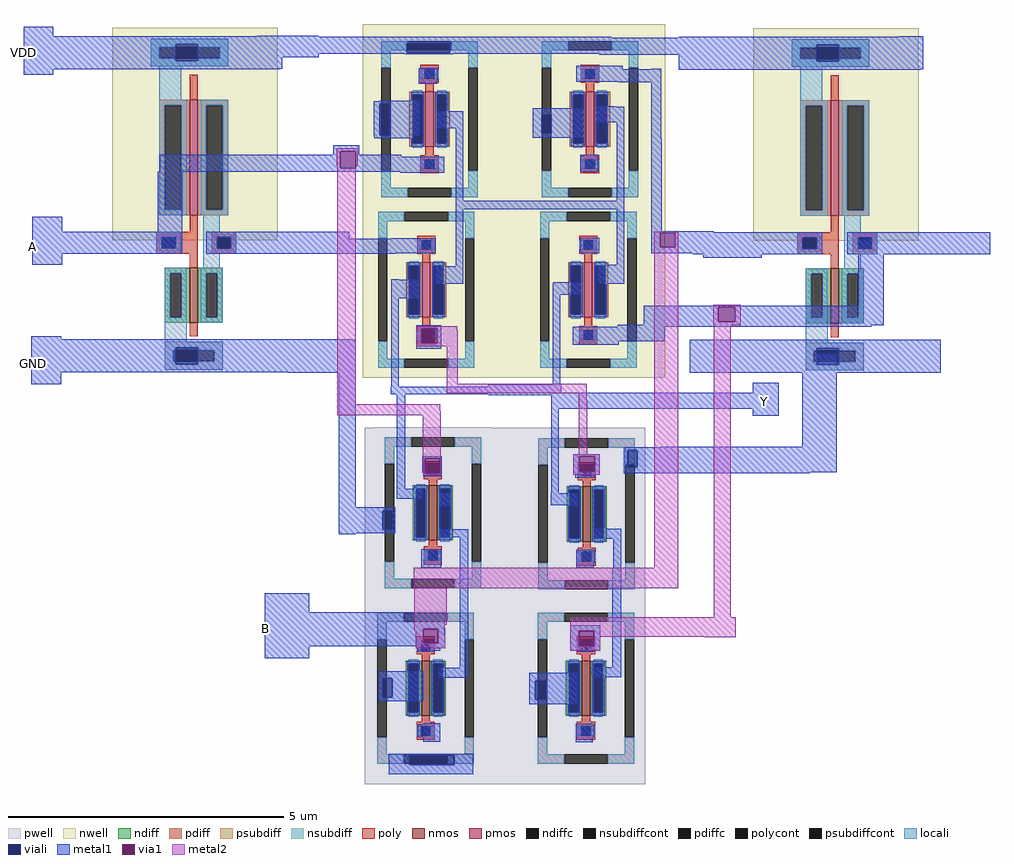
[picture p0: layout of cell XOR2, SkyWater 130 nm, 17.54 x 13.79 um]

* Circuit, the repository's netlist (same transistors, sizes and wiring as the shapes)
* SPICE3 file created from XOR2.ext - technology: sky130A

.subckt INV vdd vss out in
X0 out in vdd vdd sky130_fd_pr__pfet_01v8 ad=1.155 pd=5.3 as=1.155 ps=5.3 w=2.1 l=0.15
X1 out in vss vss sky130_fd_pr__nfet_01v8 ad=0.45 pd=2.9 as=0.45 ps=2.9 w=1 l=0.15
.ends

.subckt sky130_fd_pr__nfet_01v8_648S5X a_n73_n100# a_n33_n188# a_15_n100# a_n175_n274#
X0 a_15_n100# a_n33_n188# a_n73_n100# a_n175_n274# sky130_fd_pr__nfet_01v8 ad=0.29 pd=2.58 as=0.29 ps=2.58 w=1 l=0.15
.ends

.subckt sky130_fd_pr__pfet_01v8_XGS3BL a_n73_n100# a_15_n100# w_n211_n319# a_n33_n197#
+ VSUBS
X0 a_15_n100# a_n33_n197# a_n73_n100# w_n211_n319# sky130_fd_pr__pfet_01v8 ad=0.29 pd=2.58 as=0.29 ps=2.58 w=1 l=0.15
.ends

**.subckt XOR2
XINV_1 VDD GND INV_1/out A INV
XXM1 Y A m1_n2334_n5576# GND sky130_fd_pr__nfet_01v8_648S5X
XXM2 Y INV_1/out m1_n1774_n5072# GND sky130_fd_pr__nfet_01v8_648S5X
XXM3 VDD m1_n2344_n3582# VDD A GND sky130_fd_pr__pfet_01v8_XGS3BL
XXM4 VDD m1_n2344_n3582# VDD B GND sky130_fd_pr__pfet_01v8_XGS3BL
XXM5 Y m1_n2344_n3582# VDD INV_1/out GND sky130_fd_pr__pfet_01v8_XGS3BL
XXM6 Y m1_n2344_n3582# VDD INV_0/out GND sky130_fd_pr__pfet_01v8_XGS3BL
XXM7 GND B m1_n2334_n5576# GND sky130_fd_pr__nfet_01v8_648S5X
XXM8 GND INV_0/out m1_n1774_n5072# GND sky130_fd_pr__nfet_01v8_648S5X
XINV_0 VDD GND INV_0/out B INV
*C0 INV_0/out GND 2.081766f
*C1 B GND 2.228968f
*C2 VDD GND 9.076381f
**.ends

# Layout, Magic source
magic
tech sky130A
magscale 1 2
<< nwell >>
rect -2608 -3982 -1510 -3204
rect -2608 -4036 -2504 -3982
rect -2342 -4036 -1510 -3982
rect -2608 -4488 -1510 -4036
<< pwell >>
rect -2600 -5962 -1582 -4670
<< viali >>
rect -2448 -3308 -2292 -3274
rect -2546 -3608 -2510 -3494
rect -1958 -3600 -1924 -3534
rect -1646 -4812 -1612 -4750
rect -2534 -5040 -2500 -4970
rect -2534 -5648 -2500 -5578
rect -1982 -5652 -1942 -5588
rect -1982 -5656 -1944 -5652
rect -2438 -5892 -2276 -5858
<< metal1 >>
rect -3838 -3388 -3730 -3214
rect -2910 -3250 -2768 -3246
rect -2910 -3254 -1706 -3250
rect -2910 -3274 -1126 -3254
rect -2910 -3308 -2448 -3274
rect -2292 -3308 -1126 -3274
rect -2910 -3312 -1126 -3308
rect -2910 -3324 -2768 -3312
rect -2454 -3314 -2280 -3312
rect -1750 -3316 -1126 -3312
rect -2404 -3420 -2338 -3364
rect -1832 -3368 -1664 -3356
rect -1560 -3368 -1524 -3366
rect -1832 -3414 -1524 -3368
rect -1678 -3416 -1524 -3414
rect -2548 -3484 -2400 -3482
rect -2568 -3494 -2400 -3484
rect -2568 -3608 -2546 -3494
rect -2510 -3608 -2400 -3494
rect -1756 -3504 -1692 -3502
rect -2344 -3582 -2242 -3520
rect -2568 -3610 -2400 -3608
rect -2568 -3612 -2420 -3610
rect -2566 -3618 -2422 -3612
rect -2714 -3666 -2620 -3644
rect -2714 -3678 -2690 -3666
rect -3344 -3728 -2690 -3678
rect -2632 -3678 -2620 -3666
rect -2632 -3686 -2468 -3678
rect -2632 -3728 -2312 -3686
rect -3344 -3740 -2312 -3728
rect -3806 -4078 -3698 -3904
rect -3352 -4032 -3262 -3740
rect -2472 -3744 -2312 -3740
rect -2270 -3846 -2242 -3582
rect -1990 -3534 -1810 -3510
rect -1990 -3600 -1958 -3534
rect -1924 -3600 -1810 -3534
rect -1756 -3560 -1658 -3504
rect -1990 -3616 -1810 -3600
rect -1818 -3740 -1752 -3678
rect -1686 -3846 -1658 -3560
rect -2270 -3876 -1658 -3846
rect -2504 -3984 -2342 -3982
rect -2708 -4036 -2342 -3984
rect -2708 -4038 -2488 -4036
rect -2270 -4084 -2242 -3876
rect -1816 -4036 -1750 -3980
rect -1686 -4078 -1658 -3876
rect -1560 -3620 -1524 -3416
rect -1560 -3956 -1522 -3620
rect -1560 -3962 -1334 -3956
rect -1560 -4014 -1528 -3962
rect -1474 -3966 -1334 -3962
rect -1474 -4014 -1160 -3966
rect -1560 -4036 -1160 -4014
rect -1372 -4052 -1160 -4036
rect -2504 -4132 -2476 -4130
rect -2504 -4200 -2402 -4132
rect -2342 -4146 -2242 -4084
rect -1754 -4136 -1658 -4078
rect -1916 -4144 -1818 -4142
rect -1918 -4186 -1818 -4144
rect -1748 -4146 -1658 -4136
rect -3810 -4512 -3702 -4338
rect -2880 -4350 -2642 -4348
rect -2880 -4470 -2632 -4350
rect -2694 -4958 -2632 -4470
rect -2504 -4520 -2476 -4200
rect -2414 -4308 -2322 -4298
rect -2414 -4362 -2396 -4308
rect -2338 -4362 -2322 -4308
rect -2414 -4382 -2322 -4362
rect -1918 -4512 -1890 -4186
rect -810 -4226 -716 -3986
rect -1588 -4232 -716 -4226
rect -1588 -4284 -1318 -4232
rect -1256 -4284 -716 -4232
rect -1588 -4296 -716 -4284
rect -1682 -4298 -716 -4296
rect -1682 -4302 -762 -4298
rect -1846 -4356 -1512 -4302
rect -1846 -4368 -1678 -4356
rect -2152 -4520 -1888 -4512
rect -2506 -4542 -1888 -4520
rect -1192 -4542 -1098 -4506
rect -2506 -4548 -1098 -4542
rect -2484 -4890 -2454 -4548
rect -2152 -4552 -1098 -4548
rect -1924 -4600 -1098 -4552
rect -2392 -4780 -2320 -4772
rect -2392 -4832 -2382 -4780
rect -2388 -4834 -2382 -4832
rect -2326 -4832 -2320 -4780
rect -2388 -4846 -2326 -4834
rect -2484 -4926 -2392 -4890
rect -1924 -4906 -1896 -4600
rect -1192 -4626 -1098 -4600
rect -1012 -4738 -888 -4400
rect -1524 -4740 -888 -4738
rect -1660 -4750 -888 -4740
rect -1844 -4772 -1748 -4766
rect -1844 -4828 -1822 -4772
rect -1766 -4828 -1748 -4772
rect -1844 -4840 -1748 -4828
rect -1660 -4812 -1646 -4750
rect -1612 -4812 -888 -4750
rect -1660 -4830 -888 -4812
rect -1660 -4834 -984 -4830
rect -1836 -4850 -1774 -4840
rect -2324 -4954 -2290 -4906
rect -1926 -4950 -1828 -4906
rect -2694 -4970 -2490 -4958
rect -2694 -5040 -2534 -4970
rect -2500 -5040 -2490 -4970
rect -2694 -5052 -2490 -5040
rect -2694 -5056 -2632 -5052
rect -2330 -5066 -2224 -5038
rect -2396 -5178 -2322 -5110
rect -2964 -5338 -2802 -5270
rect -2964 -5396 -2310 -5338
rect -2964 -5398 -2308 -5396
rect -2964 -5452 -2388 -5398
rect -2334 -5452 -2308 -5398
rect -2964 -5462 -2308 -5452
rect -2964 -5506 -2802 -5462
rect -2416 -5470 -2308 -5462
rect -2388 -5478 -2326 -5470
rect -2256 -5540 -2224 -5066
rect -1774 -5072 -1670 -5036
rect -1832 -5178 -1770 -5112
rect -1698 -5178 -1670 -5072
rect -1854 -5406 -1746 -5386
rect -1854 -5462 -1824 -5406
rect -1768 -5462 -1746 -5406
rect -1854 -5478 -1746 -5462
rect -1832 -5480 -1770 -5478
rect -1702 -5538 -1670 -5178
rect -2552 -5578 -2388 -5552
rect -2334 -5576 -2224 -5540
rect -2552 -5648 -2534 -5578
rect -2500 -5648 -2388 -5578
rect -2552 -5662 -2388 -5648
rect -2004 -5588 -1828 -5558
rect -1770 -5574 -1670 -5538
rect -2004 -5656 -1982 -5588
rect -1942 -5652 -1828 -5588
rect -1944 -5656 -1828 -5652
rect -2004 -5672 -1828 -5656
rect -2388 -5808 -2326 -5742
rect -1834 -5810 -1772 -5744
rect -2514 -5858 -2206 -5852
rect -2514 -5892 -2438 -5858
rect -2276 -5892 -2206 -5858
rect -2514 -5926 -2206 -5892
<< via1 >>
rect -2690 -3728 -2632 -3666
rect -1528 -4014 -1474 -3962
rect -2396 -4362 -2338 -4308
rect -1318 -4284 -1256 -4232
rect -2382 -4834 -2326 -4780
rect -1822 -4828 -1766 -4772
rect -2388 -5452 -2334 -5398
rect -1824 -5462 -1768 -5406
<< metal2 >>
rect -2702 -3666 -2626 -3654
rect -2702 -3720 -2690 -3666
rect -2700 -3728 -2690 -3720
rect -2632 -3720 -2626 -3666
rect -2700 -4584 -2632 -3728
rect -1550 -3962 -1462 -3958
rect -1550 -4014 -1528 -3962
rect -1474 -4014 -1462 -3962
rect -2414 -4308 -2264 -4300
rect -2414 -4362 -2396 -4308
rect -2338 -4318 -2264 -4308
rect -2338 -4362 -2262 -4318
rect -2414 -4374 -2262 -4362
rect -2302 -4510 -2262 -4374
rect -2302 -4544 -1794 -4510
rect -1824 -4570 -1794 -4544
rect -2700 -4610 -2326 -4584
rect -2700 -4624 -2324 -4610
rect -2390 -4780 -2324 -4624
rect -1824 -4766 -1792 -4570
rect -2390 -4802 -2382 -4780
rect -2388 -4834 -2382 -4802
rect -2326 -4834 -2324 -4780
rect -2388 -4842 -2324 -4834
rect -1844 -4772 -1748 -4766
rect -1844 -4828 -1822 -4772
rect -1766 -4828 -1748 -4772
rect -1844 -4840 -1748 -4828
rect -1550 -5178 -1462 -4014
rect -1336 -4232 -1236 -4222
rect -1336 -4284 -1318 -4232
rect -1256 -4284 -1236 -4232
rect -1336 -4298 -1236 -4284
rect -2422 -5252 -1462 -5178
rect -2420 -5384 -2302 -5252
rect -1334 -5356 -1272 -4298
rect -2420 -5398 -2310 -5384
rect -2420 -5406 -2388 -5398
rect -2416 -5452 -2388 -5406
rect -2334 -5422 -2310 -5398
rect -1854 -5406 -1254 -5356
rect -2334 -5452 -2308 -5422
rect -2416 -5470 -2308 -5452
rect -1854 -5462 -1824 -5406
rect -1768 -5428 -1254 -5406
rect -1768 -5462 -1746 -5428
rect -1366 -5430 -1254 -5428
rect -1854 -5478 -1746 -5462
use INV  INV_0
transform 1 0 -890 0 1 -3690
box -570 -780 560 470
use INV  INV_1
transform 1 0 -3216 0 1 -3688
box -570 -780 560 470
use sky130_fd_pr__nfet_01v8_648S5X  XM1
transform 1 0 -2353 0 1 -4978
box -211 -310 211 310
use sky130_fd_pr__nfet_01v8_648S5X  XM2
transform 1 0 -1795 0 1 -4982
box -211 -310 211 310
use sky130_fd_pr__pfet_01v8_XGS3BL  XM3
transform 1 0 -2365 0 1 -3549
box -211 -319 211 319
use sky130_fd_pr__pfet_01v8_XGS3BL  XM4
transform 1 0 -1783 0 1 -3549
box -211 -319 211 319
use sky130_fd_pr__pfet_01v8_XGS3BL  XM5
transform 1 0 -2377 0 1 -4169
box -211 -319 211 319
use sky130_fd_pr__pfet_01v8_XGS3BL  XM6
transform 1 0 -1789 0 1 -4169
box -211 -319 211 319
use sky130_fd_pr__nfet_01v8_648S5X  XM7
transform 1 0 -2379 0 1 -5614
box -211 -310 211 310
use sky130_fd_pr__nfet_01v8_648S5X  XM8
transform 1 0 -1797 0 1 -5614
box -211 -310 211 310
<< labels >>
rlabel metal1 -1148 -4574 -1148 -4574 1 Y
rlabel metal1 -3802 -4436 -3802 -4436 1 GND
rlabel metal1 -3806 -4012 -3806 -4012 1 A
rlabel metal1 -3838 -3308 -3838 -3308 3 VDD
rlabel metal1 -2960 -5398 -2960 -5398 1 B
<< end >>

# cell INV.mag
magic
tech sky130A
<< nwell >>
rect -150 -150 150 235
<< nmos >>
rect -10 -300 5 -200
<< pmos >>
rect -10 -105 5 105
<< ndiff >>
rect -55 -210 -10 -200
rect -55 -290 -45 -210
rect -25 -290 -10 -210
rect -55 -300 -10 -290
rect 5 -210 50 -200
rect 5 -290 20 -210
rect 40 -290 50 -210
rect 5 -300 50 -290
<< pdiff >>
rect -65 95 -10 105
rect -65 -95 -55 95
rect -25 -95 -10 95
rect -65 -105 -10 -95
rect 5 95 60 105
rect 5 -95 20 95
rect 50 -95 60 95
rect 5 -105 60 -95
<< ndiffc >>
rect -45 -290 -25 -210
rect 20 -290 40 -210
<< pdiffc >>
rect -55 -95 -25 95
rect 20 -95 50 95
<< psubdiff >>
rect -55 -350 50 -335
rect -55 -370 -40 -350
rect 35 -370 50 -350
rect -55 -385 50 -370
<< nsubdiff >>
rect -80 200 60 215
rect -80 180 -65 200
rect 45 180 60 200
rect -80 165 60 180
<< psubdiffcont >>
rect -40 -370 35 -350
<< nsubdiffcont >>
rect -65 180 45 200
<< poly >>
rect -10 105 5 150
rect -10 -135 5 -105
rect -70 -145 5 -135
rect -70 -165 -60 -145
rect -35 -165 5 -145
rect -70 -175 5 -165
rect 30 -145 75 -135
rect 30 -165 40 -145
rect 65 -165 75 -145
rect 30 -175 75 -165
rect -10 -200 5 -175
rect -10 -325 5 -300
<< polycont >>
rect -60 -165 -35 -145
rect 40 -165 65 -145
<< locali >>
rect -80 205 60 215
rect -80 200 -35 205
rect 5 200 60 205
rect -80 180 -65 200
rect 45 180 60 200
rect -80 175 -35 180
rect 5 175 60 180
rect -80 165 60 175
rect -65 105 -25 165
rect -65 95 -15 105
rect -65 -95 -55 95
rect -25 -95 -15 95
rect -65 -105 -15 -95
rect 10 95 60 105
rect 10 -95 20 95
rect 50 -95 60 95
rect 10 -105 60 -95
rect 15 -135 45 -105
rect -70 -145 -25 -135
rect -70 -165 -60 -145
rect -35 -165 -25 -145
rect -70 -175 -25 -165
rect 15 -145 75 -135
rect 15 -165 40 -145
rect 65 -165 75 -145
rect 15 -175 75 -165
rect 15 -200 45 -175
rect -55 -210 -15 -200
rect -55 -290 -45 -210
rect -25 -290 -15 -210
rect -55 -335 -15 -290
rect 10 -210 50 -200
rect 10 -290 20 -210
rect 40 -290 50 -210
rect 10 -300 50 -290
rect -55 -345 50 -335
rect -55 -350 -35 -345
rect 5 -350 50 -345
rect -55 -370 -40 -350
rect 35 -370 50 -350
rect -55 -375 -35 -370
rect 5 -375 50 -370
rect -55 -385 50 -375
<< viali >>
rect -35 200 5 205
rect -35 180 5 200
rect -35 175 5 180
rect -60 -165 -35 -145
rect 40 -165 65 -145
rect -35 -350 5 -345
rect -35 -370 5 -350
rect -35 -375 5 -370
<< metal1 >>
rect 114 220 158 221
rect -285 205 158 220
rect -285 175 -35 205
rect 5 175 158 205
rect -285 161 158 175
rect -285 160 154 161
rect -260 -145 -25 -135
rect -260 -165 -60 -145
rect -35 -165 -25 -145
rect -260 -175 -25 -165
rect 20 -145 280 -135
rect 20 -165 40 -145
rect 65 -165 280 -145
rect 20 -175 280 -165
rect -265 -345 190 -330
rect -265 -375 -35 -345
rect 5 -375 190 -345
rect -265 -390 190 -375
<< labels >>
rlabel metal1 155 196 155 196 1 vdd
rlabel metal1 250 -165 265 -145 1 out
rlabel metal1 175 -360 175 -360 1 vss
rlabel metal1 -240 -165 -225 -145 1 in
<< end >>

# cell sky130_fd_pr__nfet_01v8_648S5X: kit device sky130_fd_pr__nfet_01v8, w 1.0 l 0.15 m 1 nf 1 diffcov 100 polycov 100 guard 1 glc 1 grc 1 gtc 1 gbc 1 tbcov 100 rlcov 100 topc 1 botc 1 poverlap 0 doverlap 1 lmin 0.15 wmin 0.42 compatible {sky130_fd_pr__nfet_01v8 sky130_fd_pr__nfet_01v8_lvt sky130_fd_bs_flash__special_sonosfet_star sky130_fd_pr__nfet_g5v0d10v5 sky130_fd_pr__nfet_05v0_nvt sky130_fd_pr__nfet_03v3_nvt} full_metal 1 viasrc 100 viadrn 100 viagate 100 viagb 0 viagr 0 viagl 0 viagt 0

# cell sky130_fd_pr__pfet_01v8_XGS3BL: kit device sky130_fd_pr__pfet_01v8, w 1.0 l 0.15 m 1 nf 1 diffcov 100 polycov 100 guard 1 glc 1 grc 1 gtc 1 gbc 1 tbcov 100 rlcov 100 topc 1 botc 1 poverlap 0 doverlap 1 lmin 0.15 wmin 0.42 compatible {sky130_fd_pr__pfet_01v8 sky130_fd_pr__pfet_01v8_lvt sky130_fd_pr__pfet_01v8_hvt sky130_fd_pr__pfet_g5v0d10v5} full_metal 1 viasrc 100 viadrn 100 viagate 100 viagb 0 viagr 0 viagl 0 viagt 0
